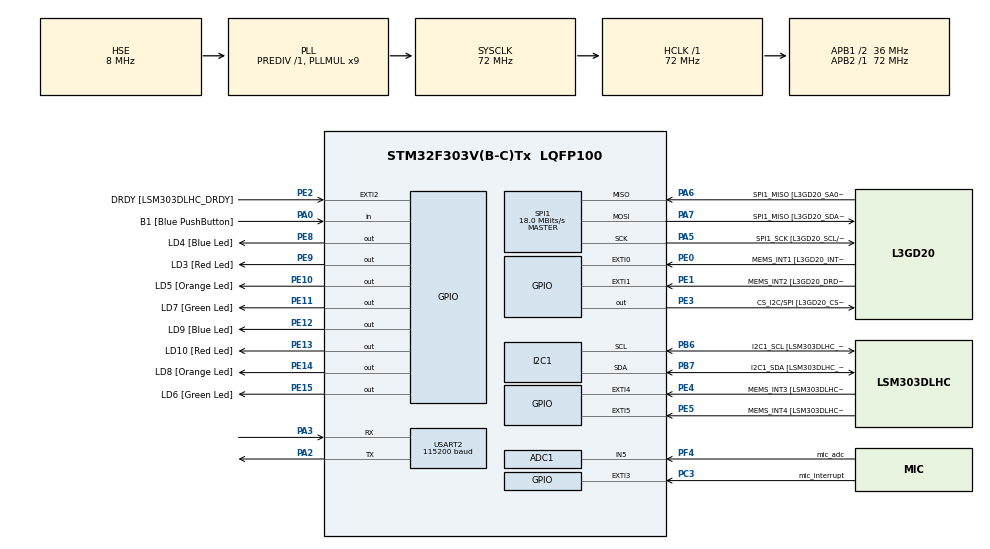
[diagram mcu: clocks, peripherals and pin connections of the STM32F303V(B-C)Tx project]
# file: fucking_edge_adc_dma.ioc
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ADC1.Channel-0\#ChannelRegularConversion=ADC_CHANNEL_5
ADC1.ClockPrescaler=ADC_CLOCK_ASYNC_DIV1
ADC1.ContinuousConvMode=ENABLE
ADC1.DMAContinuousRequests=ENABLE
ADC1.NbrOfConversion=1
ADC1.NbrOfConversionFlag=1
ADC1.Offset-0\#ChannelRegularConversion=0
ADC1.OffsetNumber-0\#ChannelRegularConversion=ADC_OFFSET_NONE
ADC1.Rank-0\#ChannelRegularConversion=1
ADC1.SamplingTime-0\#ChannelRegularConversion=ADC_SAMPLETIME_1CYCLE_5
ADC1.SamplingTimeOPAMP-0\#ChannelRegularConversion=ADC_SAMPLETIME_19CYCLES_5
ADC1.master=1
Dma.ADC1.0.Direction=DMA_PERIPH_TO_MEMORY
Dma.ADC1.0.Instance=DMA1_Channel1
Dma.ADC1.0.MemDataAlignment=DMA_MDATAALIGN_HALFWORD
Dma.ADC1.0.MemInc=DMA_MINC_ENABLE
Dma.ADC1.0.Mode=DMA_CIRCULAR
Dma.ADC1.0.PeriphDataAlignment=DMA_PDATAALIGN_HALFWORD
Dma.ADC1.0.PeriphInc=DMA_PINC_DISABLE
Dma.ADC1.0.Priority=DMA_PRIORITY_LOW
Dma.Request0=ADC1
EdgeImpulse.POC-APPSC.1.0.10.MachineLearningCcPOCAaAPPSCJjCore=true
I2C1.Timing-I2C=0x2000090E
Mcu.Family=STM32F3
Mcu.Name=STM32F303V(B-C)Tx
Mcu.Package=LQFP100
NVIC.DMA1_Channel1_IRQn=true\:0\:0\:false\:false\:true\:false\:true\:true
NVIC.PriorityGroup=NVIC_PRIORITYGROUP_0
PA0.GPIO_Label=B1 [Blue PushButton]
PA0.Signal=GPIO_Input
PA13.GPIO_Label=SWDIO
PA13.Mode=Serial_Wire
PA13.Signal=SYS_JTMS-SWDIO
PA14.GPIO_Label=SWCLK
PA14.Mode=Serial_Wire
PA14.Signal=SYS_JTCK-SWCLK
PA2.Mode=Asynchronous
PA2.Signal=USART2_TX
PA3.Mode=Asynchronous
PA3.Signal=USART2_RX
PA5.GPIO_Label=SPI1_SCK [L3GD20_SCL/SPC]
PA5.Mode=Full_Duplex_Master
PA5.Signal=SPI1_SCK
PA6.GPIO_Label=SPI1_MISO [L3GD20_SA0/SDO]
PA6.Mode=Full_Duplex_Master
PA6.Signal=SPI1_MISO
PA7.GPIO_Label=SPI1_MISO [L3GD20_SDA/SDI/SDO]
PA7.Mode=Full_Duplex_Master
PA7.Signal=SPI1_MOSI
PB3.GPIO_Label=SWO
PB3.Signal=SYS_JTDO-TRACESWO
PB6.GPIO_Label=I2C1_SCL [LSM303DLHC_SCL]
PB6.GPIO_Pu=GPIO_PULLUP
PB6.Mode=I2C
PB6.Signal=I2C1_SCL
PB7.GPIO_Label=I2C1_SDA [LSM303DLHC_SDA]
PB7.GPIO_Pu=GPIO_PULLUP
PB7.Mode=I2C
PB7.Signal=I2C1_SDA
PC14-OSC32_IN.GPIO_Label=OSC32_IN
PC14-OSC32_IN.Mode=LSE-External-Oscillator
PC14-OSC32_IN.Signal=RCC_OSC32_IN
PC15-OSC32_OUT.GPIO_Label=OSC32_OUT
PC15-OSC32_OUT.Mode=LSE-External-Oscillator
PC15-OSC32_OUT.Signal=RCC_OSC32_OUT
PC3.GPIO_Label=mic_interrupt
PC3.Signal=GPXTI3
PE0.GPIO_Label=MEMS_INT1 [L3GD20_INT1]
PE0.GPIO_ModeDefaultEXTI=GPIO_MODE_EVT_RISING
PE0.Signal=GPXTI0
PE1.GPIO_Label=MEMS_INT2 [L3GD20_DRDY/INT2]
PE1.GPIO_ModeDefaultEXTI=GPIO_MODE_EVT_RISING
PE1.Signal=GPXTI1
PE10.GPIO_Label=LD5 [Orange Led]
PE10.Signal=GPIO_Output
PE11.GPIO_Label=LD7 [Green Led]
PE11.Signal=GPIO_Output
PE12.GPIO_Label=LD9 [Blue Led]
PE12.Signal=GPIO_Output
PE13.GPIO_Label=LD10 [Red Led]
PE13.Signal=GPIO_Output
PE14.GPIO_Label=LD8 [Orange Led]
PE14.Signal=GPIO_Output
PE15.GPIO_Label=LD6 [Green Led]
PE15.Signal=GPIO_Output
PE2.GPIO_Label=DRDY [LSM303DLHC_DRDY]
PE2.GPIO_ModeDefaultEXTI=GPIO_MODE_EVT_RISING
PE2.Signal=GPXTI2
PE3.GPIO_Label=CS_I2C/SPI [L3GD20_CS_I2C/SPI]
PE3.Signal=GPIO_Output
PE4.GPIO_Label=MEMS_INT3 [LSM303DLHC_INT1]
PE4.GPIO_ModeDefaultEXTI=GPIO_MODE_EVT_RISING
PE4.Signal=GPXTI4
PE5.GPIO_Label=MEMS_INT4 [LSM303DLHC_INT2]
PE5.GPIO_ModeDefaultEXTI=GPIO_MODE_EVT_RISING
PE5.Signal=GPXTI5
PE8.GPIO_Label=LD4 [Blue Led]
PE8.Signal=GPIO_Output
PE9.GPIO_Label=LD3 [Red Led]
PE9.Signal=GPIO_Output
PF0-OSC_IN.GPIO_Label=OSC_IN
PF0-OSC_IN.Mode=HSE-External-Oscillator
PF0-OSC_IN.Signal=RCC_OSC_IN
PF1-OSC_OUT.GPIO_Label=OSC_OUT
PF1-OSC_OUT.Mode=HSE-External-Oscillator
PF1-OSC_OUT.Signal=RCC_OSC_OUT
PF4.GPIO_Label=mic_adc
PF4.Mode=IN5-Single-Ended
PF4.Signal=ADC1_IN5
ProjectManager.HeapSize=0x200
ProjectManager.StackSize=0x800
ProjectManager.TargetToolchain=STM32CubeIDE
RCC.ADC12PRES=RCC_ADC12PLLCLK_DIV256
RCC.AHBFreq_Value=72000000
RCC.APB1CLKDivider=RCC_HCLK_DIV2
RCC.APB1Freq_Value=36000000
RCC.APB1TimFreq_Value=72000000
RCC.APB2Freq_Value=72000000
RCC.APB2TimFreq_Value=72000000
RCC.CortexFreq_Value=72000000
RCC.HCLKFreq_Value=72000000
RCC.HSE_VALUE=8000000
RCC.HSI_VALUE=8000000
RCC.PLLMUL=RCC_PLL_MUL9
RCC.PLLSourceVirtual=RCC_PLLSOURCE_HSE
RCC.SYSCLKFreq_VALUE=72000000
RCC.SYSCLKSourceVirtual=RCC_SYSCLKSOURCE_PLLCLK
RCC.USBFreq_Value=72000000
SPI1.BaudRatePrescaler=SPI_BAUDRATEPRESCALER_4
SPI1.BaudRatePrescaler-Full_Duplex_Master=SPI_BAUDRATEPRESCALER_2
SPI1.CalculateBaudRate=18.0 MBits/s
SPI1.CalculateBaudRate-Full_Duplex_Master=24.0 MBits/s
SPI1.Direction=SPI_DIRECTION_2LINES
SPI1.Mode=SPI_MODE_MASTER
SPI1.Mode-Full_Duplex_Master=SPI_MODE_MASTER
SPI1.VirtualType=VM_MASTER
USART2.BaudRate=115200
USART2.VirtualMode-Asynchronous=VM_ASYNC
VP_CRC_VS_CRC.Mode=CRC_Activate
VP_EdgeImpulse.POC-APPSC_VS_POCAaAPPSCJjMachineLearning_1.0.10_1.0.10.Mode=POCAaAPPSCJjMachineLearning
board=STM32F3DISCOVERY

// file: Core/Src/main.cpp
/* USER CODE BEGIN Header */
/**
 ******************************************************************************
 * @file           : main.c
 * @brief          : Main program body
 ******************************************************************************
 * @attention
 *
 * Copyright (c) 2023 STMicroelectronics.
 * All rights reserved.
 *
 * This software is licensed under terms that can be found in the LICENSE file
 * in the root directory of this software component.
 * If no LICENSE file comes with this software, it is provided AS-IS.
 *
 ******************************************************************************
 */
/* USER CODE END Header */
#include "main.h"

/* USER CODE BEGIN Includes */
#include <stdarg.h>
#include "edge-impulse-sdk/classifier/ei_run_classifier.h"
using namespace ei;
/* USER CODE END Includes */

/* USER CODE BEGIN PD */
#define EI_CLASSIFIER_SLICES_PER_MODEL_WINDOW 2
/* USER CODE END PD */

ADC_HandleTypeDef hadc1;
DMA_HandleTypeDef hdma_adc1;

CRC_HandleTypeDef hcrc;

I2C_HandleTypeDef hi2c1;

SPI_HandleTypeDef hspi1;

UART_HandleTypeDef huart2;

/* USER CODE BEGIN PV */

uint16_t adc_buf[EI_CLASSIFIER_SLICE_SIZE * 2];
volatile uint16_t adc_buf_offset = 0;
volatile bool buf_ready = false;
//volatile size_t calls = 0;

/* USER CODE END PV */

void SystemClock_Config(void);
static void MX_GPIO_Init(void);
static void MX_DMA_Init(void);
static void MX_I2C1_Init(void);
static void MX_SPI1_Init(void);
static void MX_ADC1_Init(void);
static void MX_USART2_UART_Init(void);
static void MX_CRC_Init(void);

/* USER CODE BEGIN 0 */
void vprint(const char *fmt, va_list argp) {
	char string[200];
	if (0 < vsprintf(string, fmt, argp)) // build string
			{
		HAL_UART_Transmit(&huart2, (uint8_t*) string, strlen(string), 0xffffff); // send message via UART
	}
}

void ei_printf(const char *format, ...) {
	va_list myargs;
	va_start(myargs, format);
	vprint(format, myargs);
	va_end(myargs);
}

int get_feature_data(size_t offset, size_t length, float *out_ptr) {
	for (size_t idx = 0; idx < length; ++idx) {
		out_ptr[idx] = (float) adc_buf[idx + offset + adc_buf_offset];
	}
	return 0;
}
/* USER CODE END 0 */

int main(void) {

	/* MCU Configuration--------------------------------------------------------*/

	/* Reset of all peripherals, Initializes the Flash interface and the Systick. */
	HAL_Init();

	/* Configure the system clock */
	SystemClock_Config();

	/* Initialize all configured peripherals */
	MX_GPIO_Init();
	MX_DMA_Init();
	MX_I2C1_Init();
	MX_SPI1_Init();
	MX_ADC1_Init();
	MX_USART2_UART_Init();
	MX_CRC_Init();
	/* USER CODE BEGIN 2 */
//
	HAL_ADC_Start_DMA(&hadc1, (uint32_t*) adc_buf,
			EI_CLASSIFIER_SLICE_SIZE * 2);
	run_classifier_init();
	/* USER CODE END 2 */

	/* Infinite loop */
	/* USER CODE BEGIN WHILE */
	while (1) {
		while (!buf_ready) {
			__NOP();
		}
//		ei_printf("%d\n", calls);
		signal_t signal;
		signal.total_length = EI_CLASSIFIER_SLICE_SIZE;
		signal.get_data = &get_feature_data;
		ei_impulse_result_t result = { 0 };

		EI_IMPULSE_ERROR res = run_classifier_continuous(&signal, &result,
				false, false);

		if (res != EI_IMPULSE_OK) {
			ei_printf("ERR: Failed to run classifier (%d)\n", res);
		}

		// print the predictions
//		ei_printf("Predictions ");
//		ei_printf("(DSP: %d ms., Classification: %d ms., Anomaly: %d ms.)",
//			result.timing.dsp, result.timing.classification, result.timing.anomaly);
//		ei_printf(": \n");
		size_t maxval = 0;
		for (size_t ix = 0; ix < EI_CLASSIFIER_LABEL_COUNT; ix++) {
			HAL_GPIO_WritePin(GPIOE, GPIO_PIN_8<<ix, GPIO_PIN_RESET);
			if (result.classification[ix].value >= result.classification[maxval].value) {
				maxval = ix;
			}
		}
		HAL_GPIO_TogglePin(GPIOE, GPIO_PIN_8<<maxval);
		buf_ready = false;
		/* USER CODE END WHILE */

	}
}

void SystemClock_Config(void) {
	RCC_OscInitTypeDef RCC_OscInitStruct = { 0 };
	RCC_ClkInitTypeDef RCC_ClkInitStruct = { 0 };
	RCC_PeriphCLKInitTypeDef PeriphClkInit = { 0 };

	/** Initializes the RCC Oscillators according to the specified parameters
	 * in the RCC_OscInitTypeDef structure.
	 */
	RCC_OscInitStruct.OscillatorType = RCC_OSCILLATORTYPE_HSI
			| RCC_OSCILLATORTYPE_HSE;
	RCC_OscInitStruct.HSEState = RCC_HSE_ON;
	RCC_OscInitStruct.HSEPredivValue = RCC_HSE_PREDIV_DIV1;
	RCC_OscInitStruct.HSIState = RCC_HSI_ON;
	RCC_OscInitStruct.HSICalibrationValue = RCC_HSICALIBRATION_DEFAULT;
	RCC_OscInitStruct.PLL.PLLState = RCC_PLL_ON;
	RCC_OscInitStruct.PLL.PLLSource = RCC_PLLSOURCE_HSE;
	RCC_OscInitStruct.PLL.PLLMUL = RCC_PLL_MUL9;
	if (HAL_RCC_OscConfig(&RCC_OscInitStruct) != HAL_OK) {
		Error_Handler();
	}

	/** Initializes the CPU, AHB and APB buses clocks
	 */
	RCC_ClkInitStruct.ClockType = RCC_CLOCKTYPE_HCLK | RCC_CLOCKTYPE_SYSCLK
			| RCC_CLOCKTYPE_PCLK1 | RCC_CLOCKTYPE_PCLK2;
	RCC_ClkInitStruct.SYSCLKSource = RCC_SYSCLKSOURCE_PLLCLK;
	RCC_ClkInitStruct.AHBCLKDivider = RCC_SYSCLK_DIV1;
	RCC_ClkInitStruct.APB1CLKDivider = RCC_HCLK_DIV2;
	RCC_ClkInitStruct.APB2CLKDivider = RCC_HCLK_DIV1;

	if (HAL_RCC_ClockConfig(&RCC_ClkInitStruct, FLASH_LATENCY_2) != HAL_OK) {
		Error_Handler();
	}
	PeriphClkInit.PeriphClockSelection = RCC_PERIPHCLK_USART2
			| RCC_PERIPHCLK_I2C1 | RCC_PERIPHCLK_ADC12;
	PeriphClkInit.Usart2ClockSelection = RCC_USART2CLKSOURCE_PCLK1;
	PeriphClkInit.Adc12ClockSelection = RCC_ADC12PLLCLK_DIV256;
	PeriphClkInit.I2c1ClockSelection = RCC_I2C1CLKSOURCE_HSI;
	if (HAL_RCCEx_PeriphCLKConfig(&PeriphClkInit) != HAL_OK) {
		Error_Handler();
	}
}

static void MX_ADC1_Init(void) {

	ADC_MultiModeTypeDef multimode = { 0 };
	ADC_ChannelConfTypeDef sConfig = { 0 };

	/** Common config
	 */
	hadc1.Instance = ADC1;
	hadc1.Init.ClockPrescaler = ADC_CLOCK_ASYNC_DIV1;
	hadc1.Init.Resolution = ADC_RESOLUTION_12B;
	hadc1.Init.ScanConvMode = ADC_SCAN_DISABLE;
	hadc1.Init.ContinuousConvMode = ENABLE;
	hadc1.Init.DiscontinuousConvMode = DISABLE;
	hadc1.Init.ExternalTrigConvEdge = ADC_EXTERNALTRIGCONVEDGE_NONE;
	hadc1.Init.ExternalTrigConv = ADC_SOFTWARE_START;
	hadc1.Init.DataAlign = ADC_DATAALIGN_RIGHT;
	hadc1.Init.NbrOfConversion = 1;
	hadc1.Init.DMAContinuousRequests = ENABLE;
	hadc1.Init.EOCSelection = ADC_EOC_SINGLE_CONV;
	hadc1.Init.LowPowerAutoWait = DISABLE;
	hadc1.Init.Overrun = ADC_OVR_DATA_OVERWRITTEN;
	if (HAL_ADC_Init(&hadc1) != HAL_OK) {
		Error_Handler();
	}

	/** Configure the ADC multi-mode
	 */
	multimode.Mode = ADC_MODE_INDEPENDENT;
	if (HAL_ADCEx_MultiModeConfigChannel(&hadc1, &multimode) != HAL_OK) {
		Error_Handler();
	}

	/** Configure Regular Channel
	 */
	sConfig.Channel = ADC_CHANNEL_5;
	sConfig.Rank = ADC_REGULAR_RANK_1;
	sConfig.SingleDiff = ADC_SINGLE_ENDED;
	sConfig.SamplingTime = ADC_SAMPLETIME_1CYCLE_5;
	sConfig.OffsetNumber = ADC_OFFSET_NONE;
	sConfig.Offset = 0;
	if (HAL_ADC_ConfigChannel(&hadc1, &sConfig) != HAL_OK) {
		Error_Handler();
	}

}

static void MX_CRC_Init(void) {

	hcrc.Instance = CRC;
	hcrc.Init.DefaultPolynomialUse = DEFAULT_POLYNOMIAL_ENABLE;
	hcrc.Init.DefaultInitValueUse = DEFAULT_INIT_VALUE_ENABLE;
	hcrc.Init.InputDataInversionMode = CRC_INPUTDATA_INVERSION_NONE;
	hcrc.Init.OutputDataInversionMode = CRC_OUTPUTDATA_INVERSION_DISABLE;
	hcrc.InputDataFormat = CRC_INPUTDATA_FORMAT_BYTES;
	if (HAL_CRC_Init(&hcrc) != HAL_OK) {
		Error_Handler();
	}

}

static void MX_I2C1_Init(void) {

	hi2c1.Instance = I2C1;
	hi2c1.Init.Timing = 0x2000090E;
	hi2c1.Init.OwnAddress1 = 0;
	hi2c1.Init.AddressingMode = I2C_ADDRESSINGMODE_7BIT;
	hi2c1.Init.DualAddressMode = I2C_DUALADDRESS_DISABLE;
	hi2c1.Init.OwnAddress2 = 0;
	hi2c1.Init.OwnAddress2Masks = I2C_OA2_NOMASK;
	hi2c1.Init.GeneralCallMode = I2C_GENERALCALL_DISABLE;
	hi2c1.Init.NoStretchMode = I2C_NOSTRETCH_DISABLE;
	if (HAL_I2C_Init(&hi2c1) != HAL_OK) {
		Error_Handler();
	}

	/** Configure Analogue filter
	 */
	if (HAL_I2CEx_ConfigAnalogFilter(&hi2c1, I2C_ANALOGFILTER_ENABLE)
			!= HAL_OK) {
		Error_Handler();
	}

	/** Configure Digital filter
	 */
	if (HAL_I2CEx_ConfigDigitalFilter(&hi2c1, 0) != HAL_OK) {
		Error_Handler();
	}

}

static void MX_SPI1_Init(void) {

	/* SPI1 parameter configuration*/
	hspi1.Instance = SPI1;
	hspi1.Init.Mode = SPI_MODE_MASTER;
	hspi1.Init.Direction = SPI_DIRECTION_2LINES;
	hspi1.Init.DataSize = SPI_DATASIZE_4BIT;
	hspi1.Init.CLKPolarity = SPI_POLARITY_LOW;
	hspi1.Init.CLKPhase = SPI_PHASE_1EDGE;
	hspi1.Init.NSS = SPI_NSS_SOFT;
	hspi1.Init.BaudRatePrescaler = SPI_BAUDRATEPRESCALER_4;
	hspi1.Init.FirstBit = SPI_FIRSTBIT_MSB;
	hspi1.Init.TIMode = SPI_TIMODE_DISABLE;
	hspi1.Init.CRCCalculation = SPI_CRCCALCULATION_DISABLE;
	hspi1.Init.CRCPolynomial = 7;
	hspi1.Init.CRCLength = SPI_CRC_LENGTH_DATASIZE;
	hspi1.Init.NSSPMode = SPI_NSS_PULSE_ENABLE;
	if (HAL_SPI_Init(&hspi1) != HAL_OK) {
		Error_Handler();
	}

}

static void MX_USART2_UART_Init(void) {

	huart2.Instance = USART2;
	huart2.Init.BaudRate = 115200;
	huart2.Init.WordLength = UART_WORDLENGTH_8B;
	huart2.Init.StopBits = UART_STOPBITS_1;
	huart2.Init.Parity = UART_PARITY_NONE;
	huart2.Init.Mode = UART_MODE_TX_RX;
	huart2.Init.HwFlowCtl = UART_HWCONTROL_NONE;
	huart2.Init.OverSampling = UART_OVERSAMPLING_16;
	huart2.Init.OneBitSampling = UART_ONE_BIT_SAMPLE_DISABLE;
	huart2.AdvancedInit.AdvFeatureInit = UART_ADVFEATURE_NO_INIT;
	if (HAL_UART_Init(&huart2) != HAL_OK) {
		Error_Handler();
	}

}

static void MX_DMA_Init(void) {

	/* DMA controller clock enable */
	__HAL_RCC_DMA1_CLK_ENABLE();

	/* DMA interrupt init */
	/* DMA1_Channel1_IRQn interrupt configuration */
	HAL_NVIC_SetPriority(DMA1_Channel1_IRQn, 0, 0);
	HAL_NVIC_EnableIRQ(DMA1_Channel1_IRQn);

}

static void MX_GPIO_Init(void) {
	GPIO_InitTypeDef GPIO_InitStruct = { 0 };

	/* GPIO Ports Clock Enable */
	__HAL_RCC_GPIOE_CLK_ENABLE();
	__HAL_RCC_GPIOC_CLK_ENABLE();
	__HAL_RCC_GPIOF_CLK_ENABLE();
	__HAL_RCC_GPIOA_CLK_ENABLE();
	__HAL_RCC_GPIOB_CLK_ENABLE();

	/*Configure GPIO pin Output Level */
	HAL_GPIO_WritePin(GPIOE,
			CS_I2C_SPI_Pin | LD4_Pin | LD3_Pin | LD5_Pin | LD7_Pin | LD9_Pin
					| LD10_Pin | LD8_Pin | LD6_Pin, GPIO_PIN_RESET);

	/*Configure GPIO pins : DRDY_Pin MEMS_INT3_Pin MEMS_INT4_Pin MEMS_INT1_Pin
	 MEMS_INT2_Pin */
	GPIO_InitStruct.Pin = DRDY_Pin | MEMS_INT3_Pin | MEMS_INT4_Pin
			| MEMS_INT1_Pin | MEMS_INT2_Pin;
	GPIO_InitStruct.Mode = GPIO_MODE_EVT_RISING;
	GPIO_InitStruct.Pull = GPIO_NOPULL;
	HAL_GPIO_Init(GPIOE, &GPIO_InitStruct);

	/*Configure GPIO pins : CS_I2C_SPI_Pin LD4_Pin LD3_Pin LD5_Pin
	 LD7_Pin LD9_Pin LD10_Pin LD8_Pin
	 LD6_Pin */
	GPIO_InitStruct.Pin = CS_I2C_SPI_Pin | LD4_Pin | LD3_Pin | LD5_Pin | LD7_Pin
			| LD9_Pin | LD10_Pin | LD8_Pin | LD6_Pin;
	GPIO_InitStruct.Mode = GPIO_MODE_OUTPUT_PP;
	GPIO_InitStruct.Pull = GPIO_NOPULL;
	GPIO_InitStruct.Speed = GPIO_SPEED_FREQ_LOW;
	HAL_GPIO_Init(GPIOE, &GPIO_InitStruct);

	/*Configure GPIO pin : mic_interrupt_Pin */
	GPIO_InitStruct.Pin = mic_interrupt_Pin;
	GPIO_InitStruct.Mode = GPIO_MODE_IT_RISING;
	GPIO_InitStruct.Pull = GPIO_NOPULL;
	HAL_GPIO_Init(mic_interrupt_GPIO_Port, &GPIO_InitStruct);

	/*Configure GPIO pin : B1_Pin */
	GPIO_InitStruct.Pin = B1_Pin;
	GPIO_InitStruct.Mode = GPIO_MODE_INPUT;
	GPIO_InitStruct.Pull = GPIO_NOPULL;
	HAL_GPIO_Init(B1_GPIO_Port, &GPIO_InitStruct);

}

/* USER CODE BEGIN 4 */
// Called when first half of buffer is filled
void HAL_ADC_ConvHalfCpltCallback(ADC_HandleTypeDef *hadc) {
//	ei_printf("1\n");
//	++calls;
	adc_buf_offset = 0;
	buf_ready = true;
}

// Called when buffer is completely filled
void HAL_ADC_ConvCpltCallback(ADC_HandleTypeDef *hadc) {
//	ei_printf("2\n");
//	++calls;
	adc_buf_offset = EI_CLASSIFIER_SLICE_SIZE;
	buf_ready = true;
}
/* USER CODE END 4 */

void Error_Handler(void) {
	__disable_irq();
	while (1) {
	}
}
